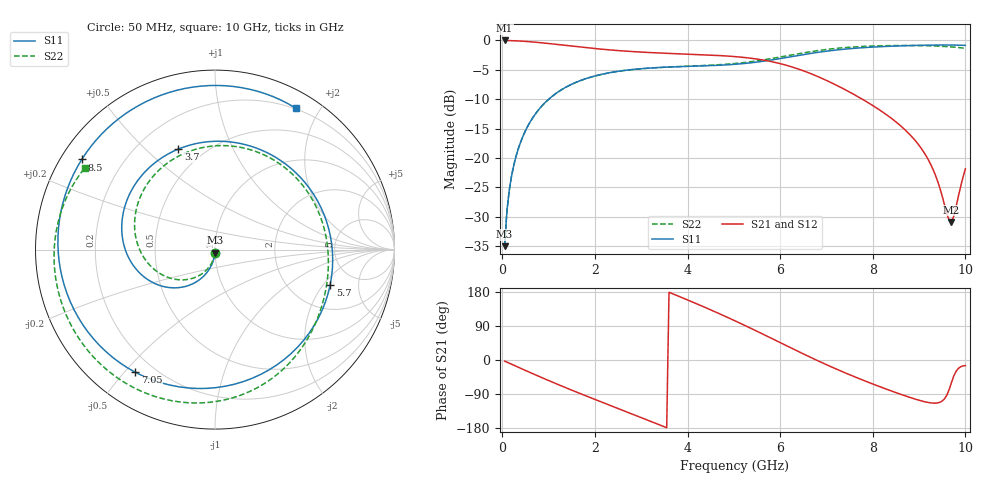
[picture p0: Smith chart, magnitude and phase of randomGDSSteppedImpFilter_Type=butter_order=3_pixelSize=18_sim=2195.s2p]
! freq	dB(S11)	phase(S11)	dB(S12)	phase(S12)
!  dB(S21)	phase(S21)	dB(S22)	phase(S22)
!S-par simulation data
#  GHz  S  DB  R 50
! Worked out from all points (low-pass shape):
!   200 points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, 50 MHz to 10 GHz, reference 50 ohm
!   highest |S21| = -0.01 dB at 50 MHz (marker M1); lowest = -30.8 dB at 9.7 GHz (marker M2)
!   |S21| within 3 dB of the highest: start of sweep to 5.346 GHz
!   lowest |S11| = -35.0 dB at 50 MHz (marker M3), VSWR 1.04, Z = 49.9 - j1.78 ohm
!   |S11| at or under -10 dB: start of sweep to 1.001 GHz
!   |S22| runs from -35.0 to -0.9 dB; largest |S21 - S12| = 0
!   S11 on the Smith chart (normalised r, x): 50 MHz: 1.00, -0.04; 3.7 GHz: 0.37, +0.64; 5.7 GHz: 3.29, -2.35; 7.05 GHz: 0.13, -0.54; 8.5 GHz: 0.06, +0.31; 10 GHz: 0.19, +1.71
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0.05  -34.97 -92.5  -0.01 -2.8  -0.01 -2.8  -34.97 -93.2
0.1  -28.98 -95.0  -0.02 -5.6  -0.02 -5.6  -28.98 -96.4
0.2  -23.04 -100.0  -0.04 -11.1  -0.04 -11.1  -23.04 -102.9
0.5  -15.35 -114.6  -0.17 -27.6  -0.17 -27.6  -15.36 -121.7
1.1  -9.35 -142.1  -0.61 -59.4  -0.61 -59.4  -9.36 -158.0
1.75  -6.64 -169.6  -1.18 -91.9  -1.18 -91.9  -6.65 164.4
2.2  -5.67 172.4  -1.53 -113.6  -1.53 -113.6  -5.68 139.1
2.65  -5.09 154.5  -1.81 -135.1  -1.81 -135.1  -5.10 114.0
3.4  -4.60 123.5  -2.14 -171.4  -2.14 -171.4  -4.60 72.7
3.7  -4.49 110.0  -2.24 173.7  -2.24 173.7  -4.48 56.5
4.4  -4.31 73.9  -2.46 137.7  -2.46 137.7  -4.25 21.0
5.05  -4.04 32.5  -2.77 102.0  -2.77 102.0  -3.90 -8.3
5.7  -3.46 -17.1  -3.43 64.0  -3.43 64.0  -3.23 -34.5
6.25  -2.75 -61.8  -4.49 30.9  -4.49 30.9  -2.46 -56.1
6.7  -2.16 -97.3  -5.77 4.5  -5.77 4.5  -1.86 -74.0
7.05  -1.78 -123.0  -6.98 -15.1  -6.98 -15.1  -1.49 -87.9
7.7  -1.28 -166.4  -9.65 -48.9  -9.65 -48.9  -1.06 -113.5
8.35  -1.00 154.5  -12.94 -79.5  -12.94 -79.5  -0.88 -138.7
8.5  -0.95 145.9  -13.84 -86.1  -13.84 -86.1  -0.87 -144.5
9.2  -0.80 106.4  -20.30 -112.2  -20.30 -112.2  -0.91 -172.9
9.7  -0.78 77.9  -30.84 -59.2  -30.84 -59.2  -1.10 164.1
10  -0.85 60.3  -21.82 -14.8  -21.82 -14.8  -1.34 148.0
